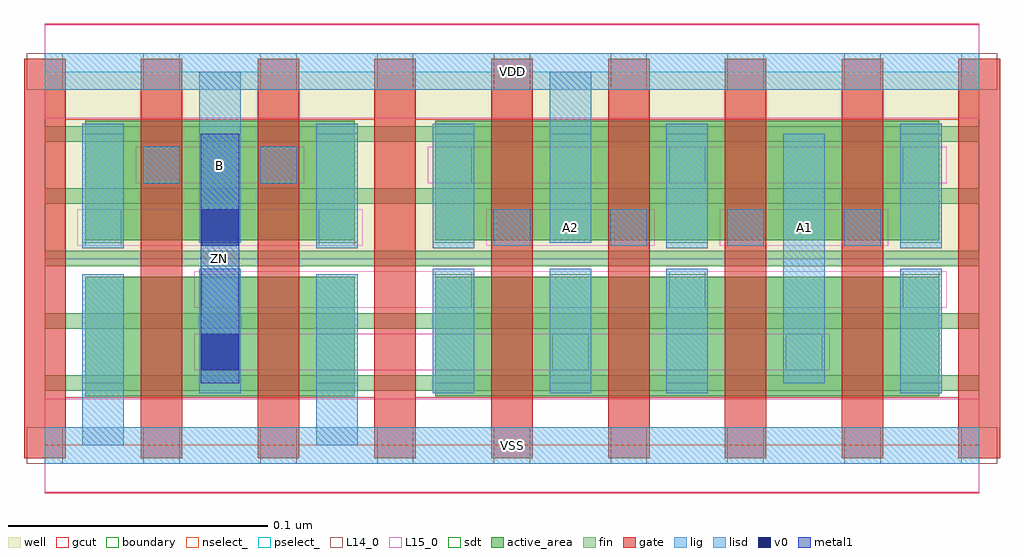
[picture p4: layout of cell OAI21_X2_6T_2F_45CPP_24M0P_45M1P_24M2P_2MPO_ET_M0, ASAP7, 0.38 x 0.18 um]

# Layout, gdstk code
import gdstk
lib = gdstk.Library(unit=1e-6, precision=2.5e-10)
def R(c, l, rs):  # rectangles x0, y0, x1, y1
    for r in rs: c.add(gdstk.rectangle(r[:2], r[2:], *l))
def A(c, l, x, y, w, h, nx, ny, dx, dy):  # array of equal rectangles
    R(c, l, [(x+i*dx, y+j*dy, x+i*dx+w, y+j*dy+h) for i in range(nx) for j in range(ny)])
well = (1, 0)
fin = (2, 0)
gate = (7, 0)
gcut = (10, 0)
active_area = (11, 0)
nselect_ = (12, 0)
pselect_ = (13, 0)
L14_0 = (14, 0)
L15_0 = (15, 0)
lig = (16, 0)
lisd = (17, 0)
v0 = (18, 0)
metal1 = (19, 0)
sdt = (88, 0)
boundary = (100, 0)

oai21_x2_6t_2f_45cpp_24m = lib.new_cell('OAI21_X2_6T_2F_45CPP_24M0P_45M1P_24M2P_2MPO_ET_M0')
R(oai21_x2_6t_2f_45cpp_24m, well, [(0,0.072,0.36,0.144)])
A(oai21_x2_6t_2f_45cpp_24m, fin, 0, 0.021, 0.36, 0.006, 1, 5, 0, 0.024)
A(oai21_x2_6t_2f_45cpp_24m, gate, -0.008, -0.005, 0.016, 0.154, 9, 1, 0.045, 0)
R(oai21_x2_6t_2f_45cpp_24m, gcut, [(0,-0.0185,0.36,0.0185), (-0.008,-0.005,0.008,0.149), (0.127,-0.005,0.143,0.149), (0.352,-0.005,0.368,0.149), (0,0.1255,0.36,0.1625)])
A(oai21_x2_6t_2f_45cpp_24m, active_area, 0.1505, 0.019, 0.059, 0.046, 4, 2, 0.045, 0.06)
R(oai21_x2_6t_2f_45cpp_24m, active_area, [(0.0155,0.019,0.0745,0.065), (0.0605,0.019,0.1195,0.065), (0.0155,0.079,0.0745,0.125), (0.0605,0.079,0.1195,0.125)])
R(oai21_x2_6t_2f_45cpp_24m, nselect_, [(0,0,0.36,0.072)])
R(oai21_x2_6t_2f_45cpp_24m, pselect_, [(0,0.072,0.36,0.144)])
A(oai21_x2_6t_2f_45cpp_24m, L14_0, -0.007, -0.007, 0.014, 0.014, 9, 2, 0.045, 0.144)
A(oai21_x2_6t_2f_45cpp_24m, L14_0, 0.0605, 0.053, 0.014, 0.014, 4, 1, 0.09, 0)
A(oai21_x2_6t_2f_45cpp_24m, L14_0, 0.173, 0.077, 0.014, 0.014, 4, 1, 0.045, 0)
A(oai21_x2_6t_2f_45cpp_24m, L14_0, 0.1505, 0.101, 0.014, 0.014, 3, 1, 0.09, 0)
R(oai21_x2_6t_2f_45cpp_24m, L14_0, [(0.1955,0.029,0.2095,0.043), (0.2855,0.029,0.2995,0.043), (0.0155,0.077,0.0295,0.091), (0.1055,0.077,0.1195,0.091), (0.038,0.101,0.052,0.115), (0.083,0.101,0.097,0.115)])
R(oai21_x2_6t_2f_45cpp_24m, L15_0, [(0,-0.018,0.36,0.018), (0.0575,0.029,0.3025,0.043), (0.0575,0.053,0.3475,0.067), (0.0125,0.077,0.1225,0.091), (0.17,0.077,0.235,0.091), (0.26,0.077,0.325,0.091), (0.035,0.101,0.1,0.115), (0.1475,0.101,0.3475,0.115), (0,0.126,0.36,0.162)])
A(oai21_x2_6t_2f_45cpp_24m, lig, 0.173, 0.077, 0.014, 0.014, 4, 1, 0.045, 0)
R(oai21_x2_6t_2f_45cpp_24m, lig, [(0,-0.007,0.36,0.007), (0.038,0.101,0.052,0.115), (0.083,0.101,0.097,0.115), (0,0.137,0.36,0.151)])
A(oai21_x2_6t_2f_45cpp_24m, lisd, 0.1495, 0.02, 0.016, 0.048, 3, 1, 0.045, 0)
A(oai21_x2_6t_2f_45cpp_24m, lisd, 0.1495, 0.076, 0.016, 0.048, 3, 1, 0.09, 0)
R(oai21_x2_6t_2f_45cpp_24m, lisd, [(0.0145,0,0.0305,0.066), (0.1045,0,0.1205,0.066), (0.0595,0.02,0.0755,0.068), (0.3295,0.02,0.3455,0.068), (0.2845,0.024,0.3005,0.12), (0.0145,0.076,0.0305,0.124), (0.1045,0.076,0.1205,0.124), (0.0595,0.078,0.0755,0.144), (0.1945,0.078,0.2105,0.144)])
R(oai21_x2_6t_2f_45cpp_24m, v0, [(0.0605,0.029,0.0745,0.043), (0.0605,0.077,0.0745,0.091)])
R(oai21_x2_6t_2f_45cpp_24m, metal1, [(0.06,0.024,0.075,0.12)])
A(oai21_x2_6t_2f_45cpp_24m, sdt, 0.0145, 0.024, 0.016, 0.042, 6, 2, 0.045, 0.054)
R(oai21_x2_6t_2f_45cpp_24m, sdt, [(0.2845,0.024,0.3005,0.12), (0.3295,0.024,0.3455,0.066), (0.3295,0.078,0.3455,0.12)])
R(oai21_x2_6t_2f_45cpp_24m, boundary, [(0,0,0.36,0.144)])
oai21_x2_6t_2f_45cpp_24m.add(gdstk.Label('B', (0.0675,0.108), layer=15, texttype=251))
oai21_x2_6t_2f_45cpp_24m.add(gdstk.Label('A2', (0.2025,0.084), layer=15, texttype=251))
oai21_x2_6t_2f_45cpp_24m.add(gdstk.Label('A1', (0.2925,0.084), layer=15, texttype=251))
oai21_x2_6t_2f_45cpp_24m.add(gdstk.Label('VDD', (0.18,0.144), layer=15, texttype=251))
oai21_x2_6t_2f_45cpp_24m.add(gdstk.Label('VSS', (0.18,0), layer=15, texttype=251))
oai21_x2_6t_2f_45cpp_24m.add(gdstk.Label('VDD', (0.18,0.144), layer=1, texttype=251))
oai21_x2_6t_2f_45cpp_24m.add(gdstk.Label('VSS', (0.18,0), layer=3, texttype=251))
oai21_x2_6t_2f_45cpp_24m.add(gdstk.Label('ZN', (0.0675,0.072), layer=19, texttype=251))

lib.write_gds('OAI21_X2_6T_2F_45CPP_24M0P_45M1P_24M2P_2MPO_ET_M0.gds')
